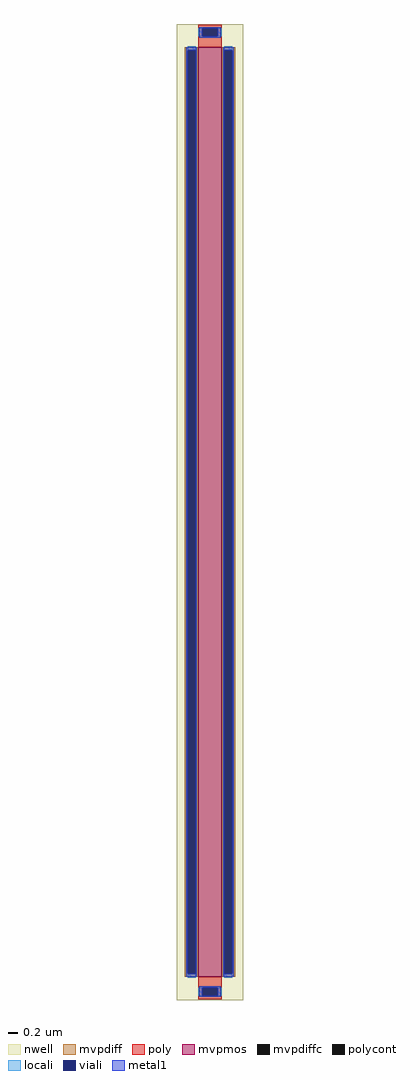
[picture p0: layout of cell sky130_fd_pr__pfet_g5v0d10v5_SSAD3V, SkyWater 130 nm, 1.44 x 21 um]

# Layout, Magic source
magic
tech sky130A
magscale 1 2
<< nwell >>
rect -144 -2100 144 2100
<< mvpmos >>
rect -50 -2000 50 2000
<< mvpdiff >>
rect -108 1988 -50 2000
rect -108 -1988 -96 1988
rect -62 -1988 -50 1988
rect -108 -2000 -50 -1988
rect 50 1988 108 2000
rect 50 -1988 62 1988
rect 96 -1988 108 1988
rect 50 -2000 108 -1988
<< mvpdiffc >>
rect -96 -1988 -62 1988
rect 62 -1988 96 1988
<< poly >>
rect -50 2081 50 2097
rect -50 2047 -34 2081
rect 34 2047 50 2081
rect -50 2000 50 2047
rect -50 -2047 50 -2000
rect -50 -2081 -34 -2047
rect 34 -2081 50 -2047
rect -50 -2097 50 -2081
<< polycont >>
rect -34 2047 34 2081
rect -34 -2081 34 -2047
<< locali >>
rect -50 2047 -34 2081
rect 34 2047 50 2081
rect -96 1988 -62 2004
rect -96 -2004 -62 -1988
rect 62 1988 96 2004
rect 62 -2004 96 -1988
rect -50 -2081 -34 -2047
rect 34 -2081 50 -2047
<< viali >>
rect -34 2047 34 2081
rect -96 -1988 -62 1988
rect 62 -1988 96 1988
rect -34 -2081 34 -2047
<< metal1 >>
rect -46 2081 46 2087
rect -46 2047 -34 2081
rect 34 2047 46 2081
rect -46 2041 46 2047
rect -102 1988 -56 2000
rect -102 -1988 -96 1988
rect -62 -1988 -56 1988
rect -102 -2000 -56 -1988
rect 56 1988 102 2000
rect 56 -1988 62 1988
rect 96 -1988 102 1988
rect 56 -2000 102 -1988
rect -46 -2047 46 -2041
rect -46 -2081 -34 -2047
rect 34 -2081 46 -2047
rect -46 -2087 46 -2081
<< properties >>
string gencell sky130_fd_pr__pfet_g5v0d10v5
string library sky130
string parameters w 20 l 0.5 m 1 nf 1 diffcov 100 polycov 100 guard 0 glc 0 grc 0 gtc 0 gbc 0 tbcov 100 rlcov 100 topc 1 botc 1 poverlap 0 doverlap 1 lmin 0.50 wmin 0.42 class mosfet compatible {sky130_fd_pr__pfet_01v8  sky130_fd_pr__pfet_01v8_lvt sky130_fd_pr__pfet_01v8_hvt  sky130_fd_pr__pfet_g5v0d10v5} full_metal 0 viasrc 100 viadrn 100 viagate 100 viagb 0 viagr 0 viagl 0 viagt 0
<< end >>
